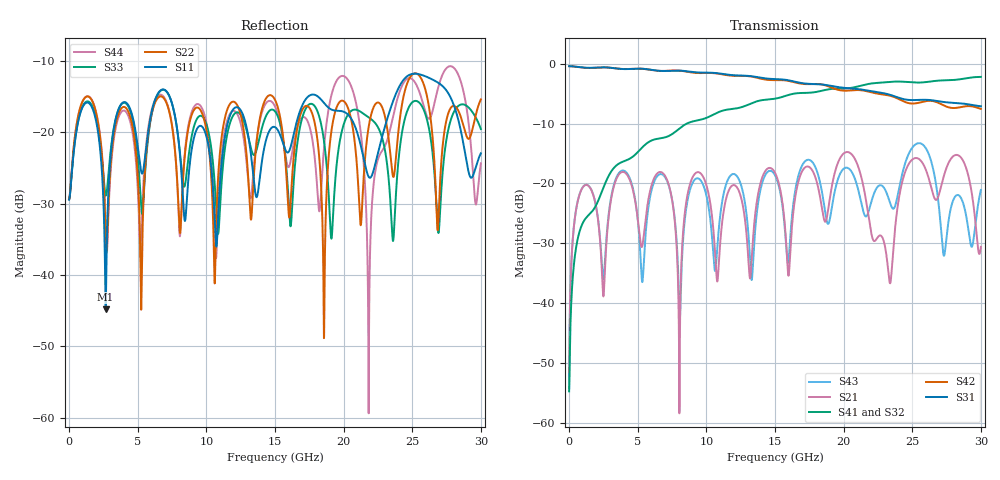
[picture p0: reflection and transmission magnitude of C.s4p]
!diffpair-meanders C (U-bend, sparse tuning (2 excursions) next to the bend), mesh medium
!ports 1 P_near 2 N_near 3 P_far 4 N_far; openEMS FDTD, lumped 50 ohm ports
# Hz S RI R 50.0
! Port[1] = P_near
! Port[2] = N_near
! Port[3] = P_far
! Port[4] = N_far
!freq ReS11 ImS11 ReS12 ImS12 ReS13 ImS13
! ReS14 ImS14
! ReS21 ImS21 ReS22 ImS22 ReS23 ImS23
! ReS24 ImS24
! ReS31 ImS31 ReS32 ImS32 ReS33 ImS33
! ReS34 ImS34
! ReS41 ImS41 ReS42 ImS42 ReS43 ImS43
! ReS44 ImS44
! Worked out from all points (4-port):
!   3000 points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, 10 MHz to 30 GHz, reference 50 ohm
!   strongest paths, dB at 10 MHz, 7.51 GHz, 15.01 GHz, 22.51 GHz, 30 GHz:
!     S31: -0.4, -1.2, -2.6, -4.8, -7.1
!     S42: -0.4, -1.1, -2.7, -5.0, -7.5
!     S41: -54.7, -11.8, -5.8, -3.2, -2.2
!     S32: -54.7, -11.7, -5.9, -3.3, -2.3
!     S21: -54.1, -22.8, -18.2, -28.9, -30.6
!     S43: -54.1, -22.7, -18.6, -20.5, -21.1
!   lowest |S11| = -44.8 dB at 2.67 GHz (marker M1), VSWR 1.01, Z = 49.5 - j0.179 ohm
!   |S11| at or under -10 dB: start of sweep to end of sweep
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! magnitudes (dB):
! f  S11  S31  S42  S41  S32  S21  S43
! 10 MHz  -29.4  -0.4  -0.4  -54.7  -54.7  -54.1  -54.1
! 860 MHz  -17.1  -0.6  -0.6  -27.4  -27.4  -21.3  -21.2
! 2.67 GHz  -44.8  -0.6  -0.6  -19.8  -19.8  -32.1  -31.0
! 6.79 GHz  -14.0  -1.2  -1.2  -12.4  -12.3  -18.2  -18.5
! 8.04 GHz  -22.2  -1.1  -1.2  -10.8  -10.8  -58.4  -41.4
! 18.57 GHz  -15.8  -3.5  -3.5  -4.4  -4.3  -25.9  -23.4
! 30 GHz  -22.9  -7.1  -7.5  -2.2  -2.3  -30.6  -21.1
